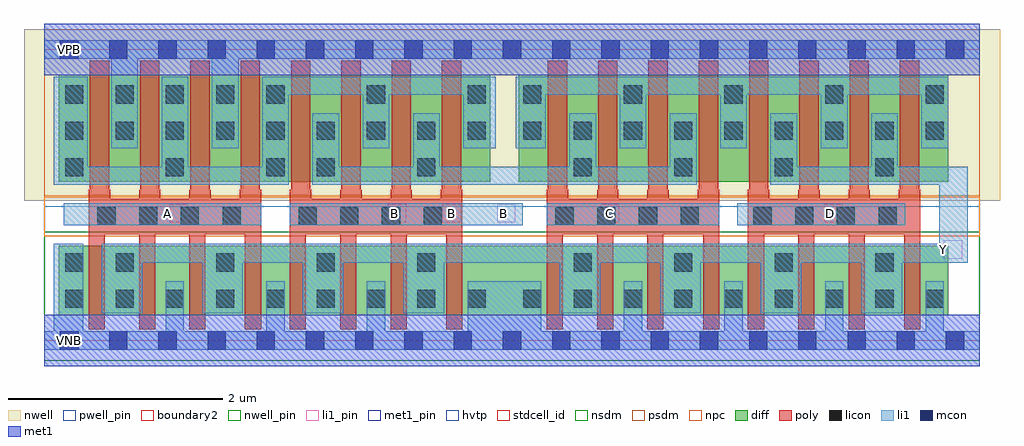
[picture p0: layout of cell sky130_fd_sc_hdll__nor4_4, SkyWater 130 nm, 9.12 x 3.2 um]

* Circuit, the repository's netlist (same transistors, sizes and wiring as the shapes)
* Copyright 2020 The SkyWater PDK Authors
*
* Licensed under the Apache License, Version 2.0 (the "License");
* you may not use this file except in compliance with the License.
* You may obtain a copy of the License at
*
*     https://www.apache.org/licenses/LICENSE-2.0
*
* Unless required by applicable law or agreed to in writing, software
* distributed under the License is distributed on an "AS IS" BASIS,
* WITHOUT WARRANTIES OR CONDITIONS OF ANY KIND, either express or implied.
* See the License for the specific language governing permissions and
* limitations under the License.
*
* SPDX-License-Identifier: Apache-2.0

.SUBCKT sky130_fd_sc_hdll__nor4_4 A B C D VGND VNB VPB VPWR Y
*.PININFO A:I B:I C:I D:I VGND:I VNB:I VPB:I VPWR:I Y:O
MMP0 VPWR A sndPA VPB sky130_fd_pr__pfet_01v8_hvt m=4 w=1.0U l=0.18U mult=1 sa=0.265
+ sb=0.265 sd=0.28 area=0.028 perim=0.76
MMP1 sndPA B sndPB VPB sky130_fd_pr__pfet_01v8_hvt m=4 w=1.0U l=0.18U mult=1 sa=0.265
+ sb=0.265 sd=0.28 area=0.028 perim=0.76
MMP2 sndPB C sndPC VPB sky130_fd_pr__pfet_01v8_hvt m=4 w=1.0U l=0.18U mult=1 sa=0.265
+ sb=0.265 sd=0.28 area=0.028 perim=0.76
MMP3 sndPC D Y VPB sky130_fd_pr__pfet_01v8_hvt m=4 w=1.0U l=0.18U mult=1 sa=0.265
+ sb=0.265 sd=0.28 area=0.028 perim=0.76
MMN0 Y A VGND VNB sky130_fd_pr__nfet_01v8 m=4 w=0.65U l=0.15U mult=1 sa=0.265 sb=0.265
+ sd=0.28 area=0.028 perim=0.76
MMN1 Y B VGND VNB sky130_fd_pr__nfet_01v8 m=4 w=0.65U l=0.15U mult=1 sa=0.265 sb=0.265
+ sd=0.28 area=0.028 perim=0.76
MMN2 Y C VGND VNB sky130_fd_pr__nfet_01v8 m=4 w=0.65U l=0.15U mult=1 sa=0.265 sb=0.265
+ sd=0.28 area=0.028 perim=0.76
MMN3 Y D VGND VNB sky130_fd_pr__nfet_01v8 m=4 w=0.65U l=0.15U mult=1 sa=0.265 sb=0.265
+ sd=0.28 area=0.028 perim=0.76
.ENDS sky130_fd_sc_hdll__nor4_4

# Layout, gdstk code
import gdstk
lib = gdstk.Library(unit=1e-6, precision=1e-09)
def R(c, l, rs):  # rectangles x0, y0, x1, y1
    for r in rs: c.add(gdstk.rectangle(r[:2], r[2:], *l))
def A(c, l, x, y, w, h, nx, ny, dx, dy):  # array of equal rectangles
    R(c, l, [(x+i*dx, y+j*dy, x+i*dx+w, y+j*dy+h) for i in range(nx) for j in range(ny)])
def P(c, l, *ps):  # polygons
    for p in ps: c.add(gdstk.Polygon(p, *l))
nwell_pin = (64, 16)
nwell = (64, 20)
diff = (65, 20)
poly = (66, 20)
licon = (66, 44)
li1_pin = (67, 16)
li1 = (67, 20)
mcon = (67, 44)
met1_pin = (68, 16)
met1 = (68, 20)
hvtp = (78, 44)
stdcell_id = (81, 4)
nsdm = (93, 44)
psdm = (94, 20)
npc = (95, 20)
pwell_pin = (122, 16)
boundary2 = (236, 0)

sky130_fd_sc_hdll__nor4_ = lib.new_cell('sky130_fd_sc_hdll__nor4_4')
R(sky130_fd_sc_hdll__nor4_, nwell_pin, [(0.15,2.635,0.32,2.805)])
R(sky130_fd_sc_hdll__nor4_, nwell, [(-0.19,1.305,8.93,2.91)])
R(sky130_fd_sc_hdll__nor4_, diff, [(0.135,0.235,8.445,0.885), (0.135,1.485,4.165,2.485), (4.435,1.485,8.445,2.485)])
P(sky130_fd_sc_hdll__nor4_, poly, [(2.025,1.41),(2.015,1.41),(2.015,2.615),(1.835,2.615),(1.835,1.41),(1.825,1.41),(1.825,1.325),(1.555,1.325),(1.555,1.41),(1.545,1.41),(1.545,2.615),(1.365,2.615),(1.365,1.41),(1.355,1.41),(1.355,1.325),(1.085,1.325),(1.085,1.41),(1.075,1.41),(1.075,2.615),(0.895,2.615),(0.895,1.41),(0.885,1.41),(0.885,1.325),(0.615,1.325),(0.615,1.41),(0.605,1.41),(0.605,2.615),(0.425,2.615),(0.425,1.41),(0.415,1.41),(0.415,0.105),(0.565,0.105),(0.565,0.995),(0.885,0.995),(0.885,0.105),(1.035,0.105),(1.035,0.995),(1.355,0.995),(1.355,0.105),(1.505,0.105),(1.505,0.995),(1.875,0.995),(1.875,0.105),(2.025,0.105)],
  [(3.905,1.41),(3.895,1.41),(3.895,2.615),(3.715,2.615),(3.715,1.41),(3.705,1.41),(3.705,1.325),(3.435,1.325),(3.435,1.41),(3.425,1.41),(3.425,2.615),(3.245,2.615),(3.245,1.41),(3.235,1.41),(3.235,1.325),(2.965,1.325),(2.965,1.41),(2.955,1.41),(2.955,2.615),(2.775,2.615),(2.775,1.41),(2.765,1.41),(2.765,1.325),(2.495,1.325),(2.495,1.41),(2.485,1.41),(2.485,2.615),(2.305,2.615),(2.305,1.41),(2.295,1.41),(2.295,0.105),(2.445,0.105),(2.445,0.995),(2.765,0.995),(2.765,0.105),(2.915,0.105),(2.915,0.995),(3.235,0.995),(3.235,0.105),(3.385,0.105),(3.385,0.995),(3.755,0.995),(3.755,0.105),(3.905,0.105)],
  [(6.305,1.41),(6.295,1.41),(6.295,2.615),(6.115,2.615),(6.115,1.41),(6.105,1.41),(6.105,1.325),(5.835,1.325),(5.835,1.41),(5.825,1.41),(5.825,2.615),(5.645,2.615),(5.645,1.41),(5.635,1.41),(5.635,1.325),(5.365,1.325),(5.365,1.41),(5.355,1.41),(5.355,2.615),(5.175,2.615),(5.175,1.41),(5.165,1.41),(5.165,1.325),(4.895,1.325),(4.895,1.41),(4.885,1.41),(4.885,2.615),(4.705,2.615),(4.705,1.41),(4.695,1.41),(4.695,0.105),(4.845,0.105),(4.845,0.995),(5.165,0.995),(5.165,0.105),(5.315,0.105),(5.315,0.995),(5.635,0.995),(5.635,0.105),(5.785,0.105),(5.785,0.995),(6.155,0.995),(6.155,0.105),(6.305,0.105)],
  [(8.185,1.41),(8.175,1.41),(8.175,2.615),(7.995,2.615),(7.995,1.41),(7.985,1.41),(7.985,1.325),(7.715,1.325),(7.715,1.41),(7.705,1.41),(7.705,2.615),(7.525,2.615),(7.525,1.41),(7.515,1.41),(7.515,1.325),(7.245,1.325),(7.245,1.41),(7.235,1.41),(7.235,2.615),(7.055,2.615),(7.055,1.41),(7.045,1.41),(7.045,1.325),(6.775,1.325),(6.775,1.41),(6.765,1.41),(6.765,2.615),(6.585,2.615),(6.585,1.41),(6.575,1.41),(6.575,0.105),(6.725,0.105),(6.725,0.995),(7.045,0.995),(7.045,0.105),(7.195,0.105),(7.195,0.995),(7.515,0.995),(7.515,0.105),(7.665,0.105),(7.665,0.995),(8.035,0.995),(8.035,0.105),(8.185,0.105)])
A(sky130_fd_sc_hdll__nor4_, licon, 0.195, 0.305, 0.17, 0.17, 9, 2, 0.47, 1.57)
A(sky130_fd_sc_hdll__nor4_, licon, 4.475, 0.305, 0.17, 0.17, 9, 2, 0.47, 1.57)
A(sky130_fd_sc_hdll__nor4_, licon, 0.665, 0.645, 0.17, 0.17, 4, 1, 0.94, 0)
A(sky130_fd_sc_hdll__nor4_, licon, 4.945, 0.645, 0.17, 0.17, 4, 2, 0.94, 0.89)
A(sky130_fd_sc_hdll__nor4_, licon, 0.495, 1.075, 0.17, 0.17, 4, 1, 0.39, 0)
A(sky130_fd_sc_hdll__nor4_, licon, 2.375, 1.075, 0.17, 0.17, 4, 1, 0.39, 0)
A(sky130_fd_sc_hdll__nor4_, licon, 4.775, 1.075, 0.17, 0.17, 4, 1, 0.39, 0)
A(sky130_fd_sc_hdll__nor4_, licon, 6.625, 1.075, 0.17, 0.17, 4, 1, 0.39, 0)
A(sky130_fd_sc_hdll__nor4_, licon, 0.195, 1.535, 0.17, 0.17, 3, 1, 0.94, 0)
A(sky130_fd_sc_hdll__nor4_, licon, 0.195, 2.215, 0.17, 0.17, 5, 1, 0.47, 0)
A(sky130_fd_sc_hdll__nor4_, licon, 4.475, 2.215, 0.17, 0.17, 5, 1, 0.94, 0)
R(sky130_fd_sc_hdll__nor4_, licon, [(0.195,0.645,0.365,0.815), (2.545,1.535,2.715,1.705), (3.485,1.535,3.655,1.705), (3.015,2.215,3.185,2.385), (3.955,2.215,4.125,2.385)])
A(sky130_fd_sc_hdll__nor4_, li1_pin, 3.21, 1.105, 0.17, 0.17, 3, 1, 0.51, 0)
R(sky130_fd_sc_hdll__nor4_, li1_pin, [(8.405,0.765,8.575,0.935), (1.17,1.105,1.34,1.275), (5.2,1.105,5.37,1.275), (7.29,1.105,7.46,1.275)])
R(sky130_fd_sc_hdll__nor4_, li1, [(0.18,1.075,2.025,1.285), (2.295,1.075,4.47,1.285), (4.695,1.075,6.305,1.285), (6.475,1.075,8.045,1.285)])
P(sky130_fd_sc_hdll__nor4_, li1, [(8.74,0.085),(8.405,0.085),(8.405,0.555),(8.235,0.555),(8.235,0.085),(7.465,0.085),(7.465,0.555),(7.295,0.555),(7.295,0.085),(6.525,0.085),(6.525,0.555),(6.355,0.555),(6.355,0.085),(5.585,0.085),(5.585,0.555),(5.415,0.555),(5.415,0.085),(4.645,0.085),(4.645,0.555),(3.955,0.555),(3.955,0.085),(3.185,0.085),(3.185,0.555),(3.015,0.555),(3.015,0.085),(2.245,0.085),(2.245,0.555),(2.075,0.555),(2.075,0.085),(1.305,0.085),(1.305,0.555),(1.135,0.555),(1.135,0.085),(0.365,0.085),(0.365,0.905),(0.09,0.905),(0.09,0.085),(0,0.085),(0,-0.085),(8.74,-0.085)],
  [(8.74,2.805),(0,2.805),(0,2.635),(0.625,2.635),(0.625,1.795),(0.875,1.795),(0.875,2.635),(1.565,2.635),(1.565,1.795),(1.815,1.795),(1.815,2.635),(8.74,2.635)],
  [(4.22,2.465),(2.035,2.465),(2.035,1.625),(1.345,1.625),(1.345,2.465),(1.095,2.465),(1.095,1.625),(0.405,1.625),(0.405,2.465),(0.09,2.465),(0.09,1.455),(2.285,1.455),(2.285,2.295),(2.975,2.295),(2.975,1.795),(3.225,1.795),(3.225,2.295),(3.915,2.295),(3.915,1.795),(4.22,1.795)],
  [(6.095,2.125),(5.845,2.125),(5.845,1.625),(5.155,1.625),(5.155,2.125),(4.905,2.125),(4.905,1.625),(3.695,1.625),(3.695,2.125),(3.445,2.125),(3.445,1.625),(2.755,1.625),(2.755,2.125),(2.505,2.125),(2.505,1.455),(6.095,1.455)],
  [(8.445,2.465),(4.405,2.465),(4.405,1.795),(4.685,1.795),(4.685,2.295),(5.375,2.295),(5.375,1.795),(5.625,1.795),(5.625,2.295),(6.315,2.295),(6.315,1.795),(6.565,1.795),(6.565,2.295),(7.255,2.295),(7.255,1.795),(7.505,1.795),(7.505,2.295),(8.195,2.295),(8.195,1.795),(8.445,1.795)],
  [(8.63,1.625),(7.975,1.625),(7.975,2.125),(7.725,2.125),(7.725,1.625),(7.035,1.625),(7.035,2.125),(6.785,2.125),(6.785,1.455),(8.36,1.455),(8.36,0.905),(0.535,0.905),(0.535,0.255),(0.915,0.255),(0.915,0.725),(1.475,0.725),(1.475,0.255),(1.855,0.255),(1.855,0.725),(2.415,0.725),(2.415,0.255),(2.795,0.255),(2.795,0.725),(3.355,0.725),(3.355,0.255),(3.735,0.255),(3.735,0.725),(4.815,0.725),(4.815,0.255),(5.195,0.255),(5.195,0.725),(5.755,0.725),(5.755,0.255),(6.135,0.255),(6.135,0.725),(6.695,0.725),(6.695,0.255),(7.075,0.255),(7.075,0.725),(7.635,0.725),(7.635,0.255),(8.015,0.255),(8.015,0.725),(8.63,0.725)])
A(sky130_fd_sc_hdll__nor4_, mcon, 0.145, -0.085, 0.17, 0.17, 19, 2, 0.46, 2.72)
R(sky130_fd_sc_hdll__nor4_, met1_pin, [(0.15,-0.085,0.32,0.085), (0.15,2.635,0.32,2.805)])
R(sky130_fd_sc_hdll__nor4_, met1, [(0,-0.24,8.74,0.24), (0,2.48,8.74,2.96)])
R(sky130_fd_sc_hdll__nor4_, hvtp, [(0,1.25,8.74,2.72)])
R(sky130_fd_sc_hdll__nor4_, stdcell_id, [(0,0,8.74,2.72)])
R(sky130_fd_sc_hdll__nor4_, nsdm, [(0,-0.19,8.74,1.015)])
R(sky130_fd_sc_hdll__nor4_, psdm, [(0,1.355,8.74,2.91)])
R(sky130_fd_sc_hdll__nor4_, npc, [(0,0.975,8.74,1.345)])
R(sky130_fd_sc_hdll__nor4_, pwell_pin, [(0.15,-0.085,0.32,0.085)])
R(sky130_fd_sc_hdll__nor4_, boundary2, [(0,0,8.74,2.72)])
sky130_fd_sc_hdll__nor4_.add(gdstk.Label('A', (1.155,1.19), layer=67, texttype=5))
sky130_fd_sc_hdll__nor4_.add(gdstk.Label('C', (5.28,1.19), layer=67, texttype=5))
sky130_fd_sc_hdll__nor4_.add(gdstk.Label('Y', (8.4,0.85), layer=67, texttype=5))
sky130_fd_sc_hdll__nor4_.add(gdstk.Label('D', (7.345,1.19), layer=67, texttype=5))
sky130_fd_sc_hdll__nor4_.add(gdstk.Label('B', (4.295,1.19), layer=67, texttype=5))
sky130_fd_sc_hdll__nor4_.add(gdstk.Label('B', (3.805,1.19), layer=67, texttype=5))
sky130_fd_sc_hdll__nor4_.add(gdstk.Label('B', (3.27,1.19), layer=67, texttype=5))
sky130_fd_sc_hdll__nor4_.add(gdstk.Label('VPB', (0.235,2.72), layer=64, texttype=5))
sky130_fd_sc_hdll__nor4_.add(gdstk.Label('VNB', (0.235,0), layer=64, texttype=59))
sky130_fd_sc_hdll__nor4_.add(gdstk.Label('VGND', (0.235,0), layer=68, texttype=5))
sky130_fd_sc_hdll__nor4_.add(gdstk.Label('VPWR', (0.235,2.72), layer=68, texttype=5))
sky130_fd_sc_hdll__nor4_.add(gdstk.Label('nor4_4', (0,0), layer=83, texttype=44))

lib.write_gds('sky130_fd_sc_hdll__nor4_4.gds')
